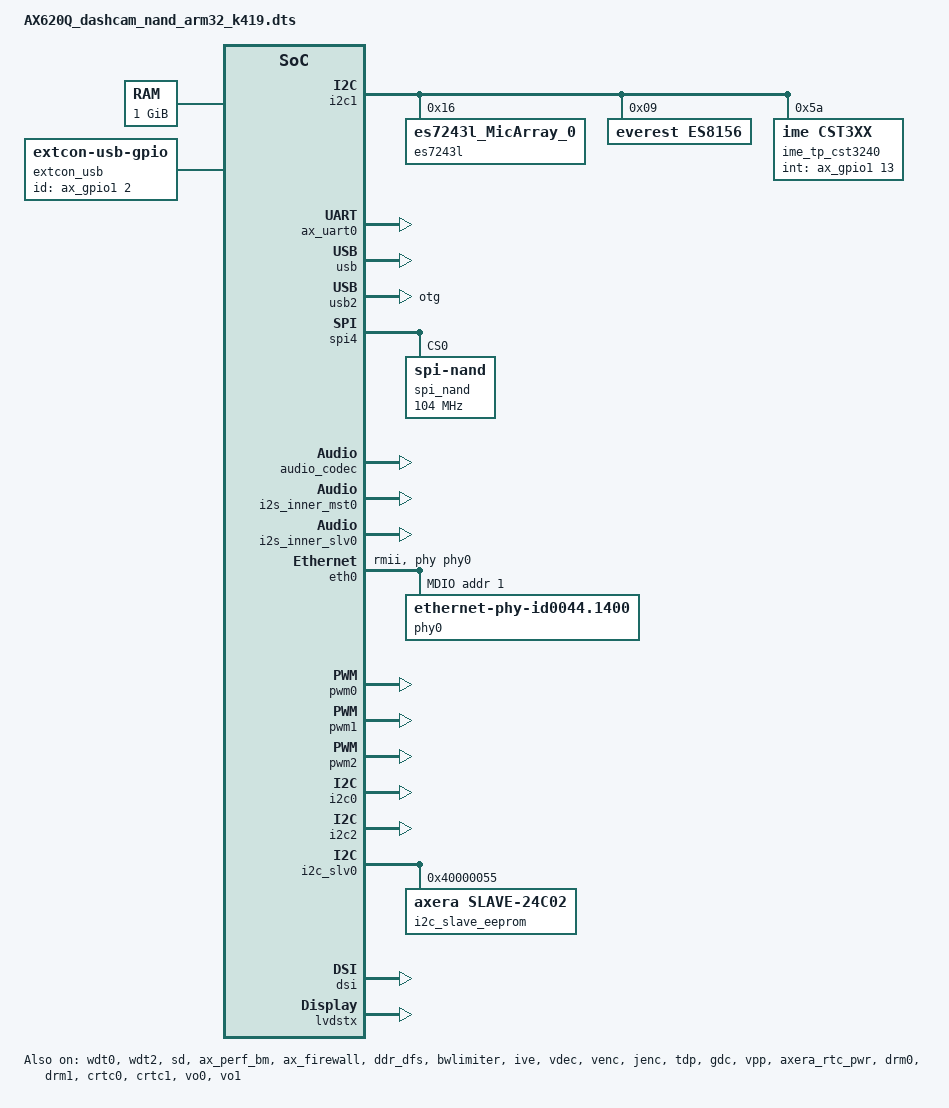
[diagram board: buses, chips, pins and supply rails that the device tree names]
// SPDX-License-Identifier: GPL-2.0
/**************************************************************************************************
 *
 * Copyright (c) 2019-2024 Axera Semiconductor Co., Ltd. All Rights Reserved.
 *
 * This dts file is the property of Axera Semiconductor Co., Ltd. and
 * may not be copied or distributed in any isomorphic form without the prior
 * written consent of Axera Semiconductor Co., Ltd.
 *
 **************************************************************************************************/

/dts-v1/;
#include "AX620E.dtsi"
/ {
	memory@40000000 {
		device_type = "memory";
		reg = <0x0 0x40000000 0x0 0x40000000>;
	};
	reserved-memory {
		#address-cells = <2>;
		#size-cells = <2>;
		ranges;
	};

	chosen {
		bootargs = BOOTARGS;
	};

	sound {
		status = "okay";
		compatible = "simple-audio-card";
		simple-audio-card,name = "Axera Audio";
		simple-audio-card,widgets =
			"Microphone", "Mic Jack";
		simple-audio-card,routing =
			"AMIC", "Mic Jack";
		#address-cells = <1>;
		#size-cells = <0>;
	/*	simple-audio-card,dai-link@0 {
			format = "i2s";
			cpu {
				sound-dai = <&i2s_mst0>;
			};
			codec {
				sound-dai = <&es7243l>;
				system-clock-frequency = <12288000>;
			};
		};
		simple-audio-card,dai-link@1 {
			format = "i2s";
			cpu {
				sound-dai = <&i2s_mst0>;
			};
			codec {
				sound-dai = <&es8156>;
				system-clock-frequency = <12288000>;
			};
		};
		simple-audio-card,dai-link@0 {
			format = "i2s";
			bitclock-master = <&codec_m2>;
			frame-master = <&codec_m2>;
			cpu {
				sound-dai = <&i2s_slv0>;
			};
			codec_m2: codec {
				sound-dai = <&es7243l>;
				system-clock-frequency = <12288000>;
			};
		};
		simple-audio-card,dai-link@1 {
			format = "i2s";
			bitclock-master = <&codec_m3>;
			frame-master = <&codec_m3>;
			cpu {
				sound-dai = <&i2s_slv0>;
			};
			codec_m3: codec {
				sound-dai = <&es8156>;
				system-clock-frequency = <12288000>;
			};
		};
		simple-audio-card,dai-link@0 {
			format = "dsp_b";
			cpu {
				sound-dai = <&i2s_tdm_mst0>;
				dai-tdm-slot-num = <2>;
				dai-tdm-slot-width = <32>;
				dai-tdm-slot-rx-mask = <1 1>;
			};
			codec {
				sound-dai = <&es7243l>;
				system-clock-frequency = <12288000>;
			};
		};
		simple-audio-card,dai-link@0 {
			format = "dsp_b";
			bitclock-master = <&codec_m5>;
			frame-master = <&codec_m5>;
			cpu {
				sound-dai = <&i2s_tdm_slv0>;
				dai-tdm-slot-num = <2>;
				dai-tdm-slot-width = <32>;
				dai-tdm-slot-rx-mask = <1 1>;
			};
			codec_m5: codec {
				sound-dai = <&es7243l>;
				system-clock-frequency = <12288000>;
			};
		};*/
		simple-audio-card,dai-link@0 {
			format = "i2s";
			bitclock-master = <&codec_m6>;
			frame-master = <&codec_m6>;
			capture-only;
			cpu {
				sound-dai = <&i2s_inner_slv0>;
			};
			codec_m6: codec {
				sound-dai = <&audio_codec>;
				system-clock-frequency = <12288000>;
			};
		};
		simple-audio-card,dai-link@1 {
			format = "i2s";
			playback-only;
			cpu {
				sound-dai = <&i2s_inner_mst0>;
			};
			codec {
				sound-dai = <&audio_codec>;
				system-clock-frequency = <12288000>;
			};
		};
	};

	axera_logctl {
		compatible = "axera,logctl";
		config = "/etc/ax_syslog.conf";
		logstate = /bits/ 8 <1 1>;
		loglevel = /bits/ 8 <4 4>;
	};

	extcon_usb: extcon_usb {
		compatible = "linux,extcon-usb-gpio";
		id-gpio = <&ax_gpio1 2 0>; /* GPIO1_A2 */
		status = "okay";
	};

	vfb0: vfb@0 {
		compatible = "axera,vfb";
		id = <0>;
		width = <1920>;
		height = <1080>;
		bpp = <32>;
		buf-num = <2>;
		status = "okay";
	};

	vfb1: vfb@1 {
		compatible = "axera,vfb";
		id = <1>;
		width = <64>;
		height = <64>;
		bpp = <32>;
		buf-num = <1>;
		cursor;
		status = "okay";
	};

	vfb2: vfb@2 {
		compatible = "axera,vfb";
		id = <2>;
		width = <64>;
		height = <64>;
		bpp = <32>;
		buf-num = <1>;
		cursor;
		status = "okay";
	};

};
&i2c1 {
	#address-cells = <0x1>;
	#size-cells = <0x0>;
	status = "okay";
	es7243l: es7243l@16 {
		compatible = "es7243l_MicArray_0";
		reg = <0x16>;
		#sound-dai-cells = <0>;
	};
	es8156: es8156@9 {
		compatible = "everest,es8156";
		reg = <0x9>;
		#sound-dai-cells = <0>;
	};
	ax_gpio_ext: gpio-axera@20 {
		compatible = "axera,gpio-ext";
		reg = <0x20>;
		gpio-controller;
		#gpio-cells = <2>;
		nr-gpios = <16>;
		status = "disabled";
	};
    ime_tp_cst3240: ime_tp@5a {
        compatible = "ime,cst3xx";
        reg = <0x5a>;
        #reset-gpio = <&ax_gpio1 20 0>;
        int-gpio = <&ax_gpio1 13 0>;
        status = "okay";
    };

};

&ax_uart0 {
	status = "okay";
};

&wdt0 {
	status = "okay";
};

&wdt2 {
	status = "okay";
};

&emmc {
	max-frequency = <200000000>;
	/*resets = <&sysclk>;*/
	sdhci-caps-mask = <0x2 0x03200000>;
	bus-width = <8>;
	no-sdio;
	no-sd;
	non-removable;
	disable-wp;
	cap-mmc-highspeed;
//	mmc-hs200-1_8v;
//	mmc-hs400-1_8v;
//	mmc-hs400-enhanced-strobe;
	cdns,phy-input-delay-sd-highspeed = <2>;
	cdns,phy-input-delay-legacy = <4>;
	cdns,phy-input-delay-sd-uhs-sdr12 = <1>;
	cdns,phy-input-delay-sd-uhs-sdr25 = <2>;
	cdns,phy-input-delay-sd-uhs-sdr50 = <1>;
	cdns,phy-input-delay-sd-uhs-ddr50 = <2>;
	cdns,phy-input-delay-mmc-legacy = <1>;
	cdns,phy-input-delay-mmc-highspeed = <2>;
	cdns,phy-input-delay-mmc-ddr = <2>;
	cdns,phy-dll-delay-sdclk = <45>;
	cdns,phy-dll-delay-sdclk-hsmmc = <23>;
	cdns,phy-dll-delay-strobe = <18>;
	fixed-emmc-driver-type = <4>;
	clocks = <&sysclk>;
	clock-names = "cardclk";
	status = "disabled";
};


#if 1
/* for sd */
&sd{
	sdhci-caps-mask = <0x7 0x00200000>;
	bus-width = <4>;
	max-frequency = <200000000>;
	cap-sd-highspeed;
	no-sdio;
	no-mmc;
	disable-wp;
#if 1
	broken-cd;
#else
	cd-gpios = <&ax_gpio1 11 0>;
	cd-inverted;
	cd-debounce-delay-ms = <300>;
#endif

	cdns,phy-input-delay-sd-highspeed = <2>;
	cdns,phy-input-delay-legacy = <3>;
	cdns,phy-input-delay-sd-uhs-sdr12 = <3>;
	cdns,phy-input-delay-sd-uhs-sdr25 = <2>;
	cdns,phy-input-delay-sd-uhs-sdr50 = <1>;
	cdns,phy-input-delay-sd-uhs-ddr50 = <1>;
	cdns,phy-dll-delay-sdclk = <0>;

	status = "okay";
};
#else
/* for sdio */
&sd{
	sdhci-caps-mask = <0x7 0x00200000>;
	bus-width = <4>;
	max-frequency = <200000000>;
	cap-sd-highspeed;
	no-sd;
	no-mmc;
	disable-wp;

	cdns,phy-input-delay-sd-highspeed = <2>;
	cdns,phy-input-delay-legacy = <3>;
	cdns,phy-input-delay-sd-uhs-sdr12 = <3>;
	cdns,phy-input-delay-sd-uhs-sdr25 = <2>;
	cdns,phy-input-delay-sd-uhs-sdr50 = <0>;
	cdns,phy-input-delay-sd-uhs-ddr50 = <0>;
	cdns,phy-dll-delay-sdclk = <0>;

	status = "disabled";
};
#endif

&usb {
	status = "okay";
};

&usb2 {
	dr_mode = "otg";
	extcon = <&extcon_usb>;
};

&ax_gpio2 {
	status = "okay";
};

&spi4 {
	status = "okay";
	spi_nand@0 {
		compatible = "spi-nand";
		reg = <0>;
		rx-sample-delay-ns = <6>;
		spi-max-frequency = <104000000>;
		spi-tx-bus-width = <4>;
		spi-rx-bus-width = <4>;
	};
};

&audio_codec {
	gpio-mic-rp = <&ax_gpio1 7 0>; /* GPIO1_A7 */
	gpio-mic-rn = <&ax_gpio1 6 0>; /* GPIO1_A6 */
	gpio-mic-ln = <&ax_gpio1 5 0>; /* GPIO1_A5 */
	gpio-mic-lp = <&ax_gpio1 4 0>; /* GPIO1_A4 */
	gpio-pa-speaker = <&ax_gpio1 12 0>;
	status = "okay";
};
&i2s_inner_mst0 {
	status = "okay";
	/*i2s - pad0*/
	i2s-m-aec-cycle-sel = <0>;    /*23-22*/
	i2s-m-aec-sclk-sel = <0>;     /*21*/
	i2s-inner-codec-en = <1>;     /*20*/
	i2s-exter-codec-en = <0>;     /*19*/
	i2s-m-exter-codec-en = <0>;   /*18*/
	i2s-exter-codec-mst = <0>;    /*17*/
	i2s-m-exter-codec-mst = <0>;  /*16*/
	iis-out-tdm-en = <0>;         /*15*/
	iis-m-out-tdm-en = <0>;       /*14*/
	i2s-m-rx0-sel = <0>;          /*13*/
	i2s-m-rx1-sel = <0>;          /*12-11*/
	i2s-s-rx0-sel = <0>;          /*10-9*/
	i2s-s-rx1-sel = <2>;          /*8-7*/
	i2s-s-sclk-sel = <0>;         /*6-5*/
	tdm-m-rx-sel = <0>;           /*4-3*/
	tdm-s-rx-sel = <0>;           /*2-1*/
	tdm-s-sclk-sel = <0>;         /*0*/
};

&i2s_inner_slv0 {
	status = "okay";
	/*i2s - pad0*/
	i2s-m-aec-cycle-sel = <0>;    /*23-22*/
	i2s-m-aec-sclk-sel = <0>;     /*21*/
	i2s-inner-codec-en = <1>;     /*20*/
	i2s-exter-codec-en = <0>;     /*19*/
	i2s-m-exter-codec-en = <0>;   /*18*/
	i2s-exter-codec-mst = <0>;    /*17*/
	i2s-m-exter-codec-mst = <0>;  /*16*/
	iis-out-tdm-en = <0>;         /*15*/
	iis-m-out-tdm-en = <0>;       /*14*/
	i2s-m-rx0-sel = <0>;          /*13*/
	i2s-m-rx1-sel = <0>;          /*12-11*/
	i2s-s-rx0-sel = <0>;          /*10-9*/
	i2s-s-rx1-sel = <2>;          /*8-7*/
	i2s-s-sclk-sel = <0>;         /*6-5*/
	tdm-m-rx-sel = <0>;           /*4-3*/
	tdm-s-rx-sel = <0>;           /*2-1*/
	tdm-s-sclk-sel = <0>;         /*0*/
};

&i2s_mst0 {
	status = "disabled";
	/*i2s - pad0*/
	i2s-m-aec-cycle-sel = <0>;    /*23-22*/
	i2s-m-aec-sclk-sel = <0>;     /*21*/
	i2s-inner-codec-en = <0>;     /*20*/
	i2s-exter-codec-en = <1>;     /*19*/
	i2s-m-exter-codec-en = <0>;   /*18*/
	i2s-exter-codec-mst = <1>;    /*17*/
	i2s-m-exter-codec-mst = <0>;  /*16*/
	iis-out-tdm-en = <0>;         /*15*/
	iis-m-out-tdm-en = <0>;       /*14*/
	i2s-m-rx0-sel = <0>;          /*13*/
	i2s-m-rx1-sel = <2>;          /*12-11*/
	i2s-s-rx0-sel = <0>;          /*10-9*/
	i2s-s-rx1-sel = <0>;          /*8-7*/
	i2s-s-sclk-sel = <0>;         /*6-5*/
	tdm-m-rx-sel = <0>;           /*4-3*/
	tdm-s-rx-sel = <0>;           /*2-1*/
	tdm-s-sclk-sel = <0>;         /*0*/
};

&i2s_slv0 {
	status = "disabled";
	/*i2s - pad0*/
	i2s-m-aec-cycle-sel = <0>;    /*23-22*/
	i2s-m-aec-sclk-sel = <0>;     /*21*/
	i2s-inner-codec-en = <0>;     /*20*/
	i2s-exter-codec-en = <1>;     /*19*/
	i2s-m-exter-codec-en = <0>;   /*18*/
	i2s-exter-codec-mst = <0>;    /*17*/
	i2s-m-exter-codec-mst = <0>;  /*16*/
	iis-out-tdm-en = <0>;         /*15*/
	iis-m-out-tdm-en = <0>;       /*14*/
	i2s-m-rx0-sel = <0>;          /*13*/
	i2s-m-rx1-sel = <0>;          /*12-11*/
	i2s-s-rx0-sel = <1>;          /*10-9*/
	i2s-s-rx1-sel = <3>;          /*8-7*/
	i2s-s-sclk-sel = <1>;         /*6-5*/
	tdm-m-rx-sel = <0>;           /*4-3*/
	tdm-s-rx-sel = <0>;           /*2-1*/
	tdm-s-sclk-sel = <0>;         /*0*/
};

&i2s_tdm_mst0 {
	status = "disabled";
	/*i2s - pad0*/
	i2s-m-aec-cycle-sel = <0>;    /*23-22*/
	i2s-m-aec-sclk-sel = <0>;     /*21*/
	i2s-inner-codec-en = <0>;     /*20*/
	i2s-exter-codec-en = <1>;     /*19*/
	i2s-m-exter-codec-en = <0>;   /*18*/
	i2s-exter-codec-mst = <1>;    /*17*/
	i2s-m-exter-codec-mst = <0>;  /*16*/
	iis-out-tdm-en = <1>;         /*15*/
	iis-m-out-tdm-en = <0>;       /*14*/
	i2s-m-rx0-sel = <0>;          /*13*/
	i2s-m-rx1-sel = <0>;          /*12-11*/
	i2s-s-rx0-sel = <0>;          /*10-9*/
	i2s-s-rx1-sel = <0>;          /*8-7*/
	i2s-s-sclk-sel = <0>;         /*6-5*/
	tdm-m-rx-sel = <0>;           /*4-3*/
	tdm-s-rx-sel = <0>;           /*2-1*/
	tdm-s-sclk-sel = <0>;         /*0*/
};

&i2s_tdm_slv0 {
	status = "disabled";
	/*i2s - pad0*/
	i2s-m-aec-cycle-sel = <0>;    /*23-22*/
	i2s-m-aec-sclk-sel = <0>;     /*21*/
	i2s-inner-codec-en = <0>;     /*20*/
	i2s-exter-codec-en = <1>;     /*19*/
	i2s-m-exter-codec-en = <0>;   /*18*/
	i2s-exter-codec-mst = <0>;    /*17*/
	i2s-m-exter-codec-mst = <0>;  /*16*/
	iis-out-tdm-en = <0>;         /*15*/
	iis-m-out-tdm-en = <0>;       /*14*/
	i2s-m-rx0-sel = <0>;          /*13*/
	i2s-m-rx1-sel = <0>;          /*12-11*/
	i2s-s-rx0-sel = <0>;          /*10-9*/
	i2s-s-rx1-sel = <0>;          /*8-7*/
	i2s-s-sclk-sel = <0>;         /*6-5*/
	tdm-m-rx-sel = <0>;           /*4-3*/
	tdm-s-rx-sel = <0>;           /*2-1*/
	tdm-s-sclk-sel = <0>;         /*0*/
};


#if 0
&eth0 {
	status = "okay";

	phy-handle = <&phy0>;
	phy-mode = "rgmii";
	phy-rst-gpio = <&ax_gpio1 27 0>; /* GPIO1_A27 */

	mdio {
		#address-cells = <1>;
		#size-cells = <0>;
		compatible = "snps,dwmac-mdio";
		phy0: jl2xxx-phy@1 {
			compatible = "ethernet-phy-id937c.4030";
			jl2xxx,led-enable = <JL2XXX_LED_CTRL_EN>;
			jl2xxx,led-mode = <JL2XXX_CFG_LED_MODE>;
			jl2xxx,led-period = <JL2XXX_GLOBAL_PERIOD_MS>;
			jl2xxx,led-on = <JL2XXX_GLOBAL_ON_MS>;
			jl2xxx,led-polarity = <JL2XXX_LED_POLARITY>;
			jl2xxx,patch-enable = <JL2XXX_PATCH_CTRL_EN>;
			jl2xxx,rgmii-enable = <JL2XXX_RGMII_CTRL_EN>;
			jl2xxx,rgmii-tx-delay = <JL2XXX_RGMII_TX_DLY_2NS>;
			jl2xxx,rgmii-rx-delay = <JL2XXX_RGMII_RX_DLY_2NS>;
			jl2xxx,clk-enable = <JL2XXX_CLK_CTRL_EN>;
			jl2xxx,fld-enable = <JL2XXX_FLD_CTRL_EN>;
			jl2xxx,fld-delay = <JL2XXX_FLD_DELAY>;
			jl2xxx,wol-enable = <JL2XXX_WOL_CTRL_EN>;
			jl2xxx,interrupt-enable = <JL2XXX_INTR_CTRL_EN>;
			jl2xxx,downshift-enable = <JL2XXX_DSFT_CTRL_EN>;
			jl2xxx,downshift-count = <JL2XXX_DSFT_AN_CNT>;
			jl2xxx,work_mode-enable = <JL2XXX_WORK_MODE_CTRL_EN>;
			jl2xxx,work_mode-mode = <JL2XXX_WOEK_MODE_MODE>;
			jl2xxx,lpbk-enable = <JL2XXX_LPBK_CTRL_EN>;
			jl2xxx,lpbk-mode = <JL2XXX_LPBK_MODE>;
			jl2xxx,slew_rate-enable = <JL2XXX_SLEW_RATE_CTRL_EN>;
			jl2xxx,rxc_out-enable = <JL2XXX_RXC_OUT_CTRL_EN>;
			reg = <1>;
		};
	};
};
#else
&eth0 {
	status = "okay";

	phy-handle = <&phy0>;
	phy-mode = "rmii";
	axera-ephy,led0-mode = <EPHY_LED_SPEED>;
	axera-ephy,led0-enable;
	axera-ephy,led1-mode = <EPHY_LED_LINK>;
	axera-ephy,led1-enable;
	axera-ephy,led-polarity = <EPHY_LED_LOW_ACTIVE>;
	mdio {
		#address-cells = <1>;
		#size-cells = <0>;
		compatible = "snps,dwmac-mdio";
		phy0: axera-ephy@1 {
			device_tpye = "ethernet-phy";
			compatible = "ethernet-phy-id0044.1400";
			reg = <1>;
		};
	};
};
#endif

&pwm0 {
	status = "okay";
};

&pwm1 {
	status = "okay";
};

&pwm2 {
	status = "okay";
};

&deb_gpio_lp {
	lp-status = <41 1>;/* use db_gpio41 as wakeup source */
	status = "okay";
};

&i2c0 {
	status = "okay";
};

&i2c2 {
	status = "okay";
};

&i2c_slv0 {
	status = "okay";
	#address-cells = <0x1>;
	#size-cells = <0x0>;
	i2c_slave_eeprom: i2c_slave_eeprom@55 {
		compatible = "axera,slave-24c02";
		reg = <0x40000055>;
		status = "okay";
	};
};

&ax_perf_bm {
	status = "okay";
};

&ax_firewall {
	status = "okay";
};

&ddr_dfs {
       status = "okay";
};

&bwlimiter {
	status = "okay";
};

&ive {
	status = "okay";
};

&vdec {
	status = "okay";
};

&venc {
	status = "okay";
};

&jenc {
	status = "okay";
};
&tdp {
	status = "okay";
};
&gdc {
	status = "okay";
};
&vpp {
	status = "okay";
};
&axera_rtc_pwr {
        status = "okay";
};

&drm0 {
	status = "okay";
};

&drm1 {
	status = "okay";
};

&crtc0 {
	status = "okay";
};

&crtc1 {
	status = "okay";
};

&vo0 {
	status = "okay";
};

&vo1 {
	status = "okay";
};

&bt_dpi0 {
	status = "disabled";
};

&bt_dpi1 {
	status = "disabled";
};

&dma {
	status = "okay";
};

&dma_per {
	status = "okay";
};

&dmac {
	status = "disabled";
};

&panel0 {
	status = "disabled";
};

&dsi {
	status = "okay";
};

&panel_dsi {
	status = "okay";
	prepare-delay-ms = <0>;
	unprepare-delay-ms = <0>;
	enable-delay-ms = <0>;
	disable-delay-ms = <150>;
	reset-gpio = <&ax_gpio1 20 0>;
	pinctrl-names = "default";
	pinctrl-0 = <&uart2_txd_gpio1_a0_pins>;

	dsi,format = <MIPI_DSI_FMT_RGB888>;
	dsi,flags = <(MIPI_DSI_MODE_VIDEO_SYNC_PULSE | MIPI_DSI_MODE_VIDEO | MIPI_DSI_MODE_LPM |MIPI_DSI_CLOCK_NON_CONTINUOUS )>;
#if 1
	dsi,lanes = <1>;
	panel-init-seq = [39 00 06 FF 77 01 00 00 13
			15 00 02 EF 08
			39 00 06 FF 77 01 00 00 10
			39 00 03 C0 77 00
			39 00 03 C1 0C 0C
			39 00 03 C2 07 02
			15 00 02 CC 10
			39 00 11 B0 00 0C 19 0B 0F 06 05 08 08 1F 04 11 0F 26 2F 1D
			39 00 11 B1 00 17 19 0F 12 05 05 08 07 1F 03 10 10 27 2F 1D
			39 00 06 FF 77 01 00 00 11
			15 00 02 B0 4D
			15 00 02 B1 5f
			15 00 02 B2 82
			15 00 02 B3 80
			15 00 02 B5 4E
			15 00 02 B7 85
			15 00 02 B8 20
			15 00 02 C1 78
			15 00 02 C2 78
			15 00 02 D0 88
			39 00 07 E0 00 00 02 00 00 0C
			39 00 0c E1 02 8C 04 8C 01 8C 03 8C 00 44 44
			39 00 0d E2 03 03 03 03 00 00 D4 00 00 00 D4 00
			39 00 05 E3 00 00 33 33
			39 00 03 E4 44 44
			39 00 11 E5 09 D2 35 8C 0B D4 35 8C 05 CE 35 8C 07 D0 35 8C
			39 00 05 E6 00 00 33 33
			39 00 03 E7 44 44
			39 00 11 E8 08 D1 35 8C 0A D3 35 8C 04 CD 35 8C 06 CF 35 8C
			39 00 07 EB 00 01 E4 E4 44 33
			39 00 11 ED FF FF F7 65 4A 10 3B FF FF B3 01 A4 56 7F FF FF
			39 00 07 EF 10 0D 04 08 3F 1F
			39 00 06 FF 77 01 00 00 00
			/*39 00 06 ff 77 01 00 00 12
			39 00 0f D1 81 20 03 56 08 01 c0 01 E0 C0 01 E0 03 56
			15 00 02 D2 06*/
			05 78 01 11
			05 32 01 29
			/*SSD_SEND(0x11,0xff,0x77,0x01,0x00,0x00,0x12);
			SSD_SEND(0x11,0xD1,0x81,0x20,0x03,0x56,0x08,0x01,0xc0,0x01,0xE0,0xC0,0x01,0xE0,0x03,0x56);
			SSD_SEND(0x11,0xD2,0x06);
			39 00 07 11 ff 77 01 00 00 12
			39 00 10 11 D1 81 20 03 56 08 01 c0 01 E0 C0 01 E0 03 56
			39 00 03 11 D2 06*/
			];
	panel-exit-seq = [05 00 01 00];
#else
	dsi,lanes = <2>;
	panel-init-seq = [39 00 06 FF 77 01 00 00 13
					  15 00 02 EF 08
					  39 00 06 FF 77 01 00 00 10
					  39 00 03 C0 2C 00
					  39 00 03 C1 08 02
					  39 00 03 C2 37 05
					  15 00 02 C3 02
					  15 00 02 CC 10
					  39 00 11 B0 04 0E 17 0B 0F 06 08 08 08 24 04 11 0F 2C 33 13
					  39 00 11 B1 0C 16 1D 0E 11 06 08 08 08 24 05 13 11 2D 33 1F
					  39 00 06 FF 77 01 00 00 11
					  15 00 02 B0 54
					  15 00 02 B1 76
					  15 00 02 B2 87
					  15 00 02 B3 80
					  15 00 02 B5 4B
					  15 00 02 B7 85
					  15 00 02 B8 21
					  15 00 02 C1 78
					  15 00 02 C2 78
					  15 64 02 D0 88
					  39 00 04 E0 00 00 02
					  39 00 0C E1 02 00 04 00 01 00 03 00 00 33 33
					  39 00 0D E2 11 11 33 33 6E 00 70 00 6D 00 6F 00
					  39 00 05 E3 00 00 11 11
					  39 00 03 E4 44 44
					  39 00 11 E5 03 6F 00 FF 05 71 00 FF 07 73 00 FF 09 6D 00 FF
					  39 00 05 E6 00 00 11 11
					  39 00 03 E7 44 44
					  39 00 11 E8 02 6E 00 FF 04 70 00 FF 06 72 00 FF 08 6C 00 FF
					  39 00 08 EB 00 01 4E 4E EE 44 00
					  39 00 11 ED 4F 01 23 56 7F FF FF FF FF FF FF F7 65 32 10 F4
					  39 00 07 EF 10 0D 04 08 3F 1F
					  39 00 06 FF 77 01 00 00 00
					  05 78 01 11
					  15 00 02 36 08
					  15 00 02 35 00
					  05 14 01 29];
	panel-exit-seq = [05 00 01 28];
#endif
	dsi-panel_esd_check_enable = /bits/ 8 <0>;
	dsi-panel-check-mode = /bits/ 8 <0>;
	dsi-panel-read-reg = /bits/ 8 <0x0A>;
	dsi-panel-read-length = /bits/ 8 <1>;
	dsi-panel-max-error-count = /bits/ 8 <3>;
	dsi-panel-status-value = /bits/ 8 <0x9D>;
	dsi-panel-check-interval-ms = <2000>;
};

&lvdstx {
	status = "okay";
};

&panel_lvds {
	status = "okay";
	data-mapping = "vesa-24";
};

&pinctrl_ax{
	/include/ "AX620E_pinctrl.dtsi"
};
